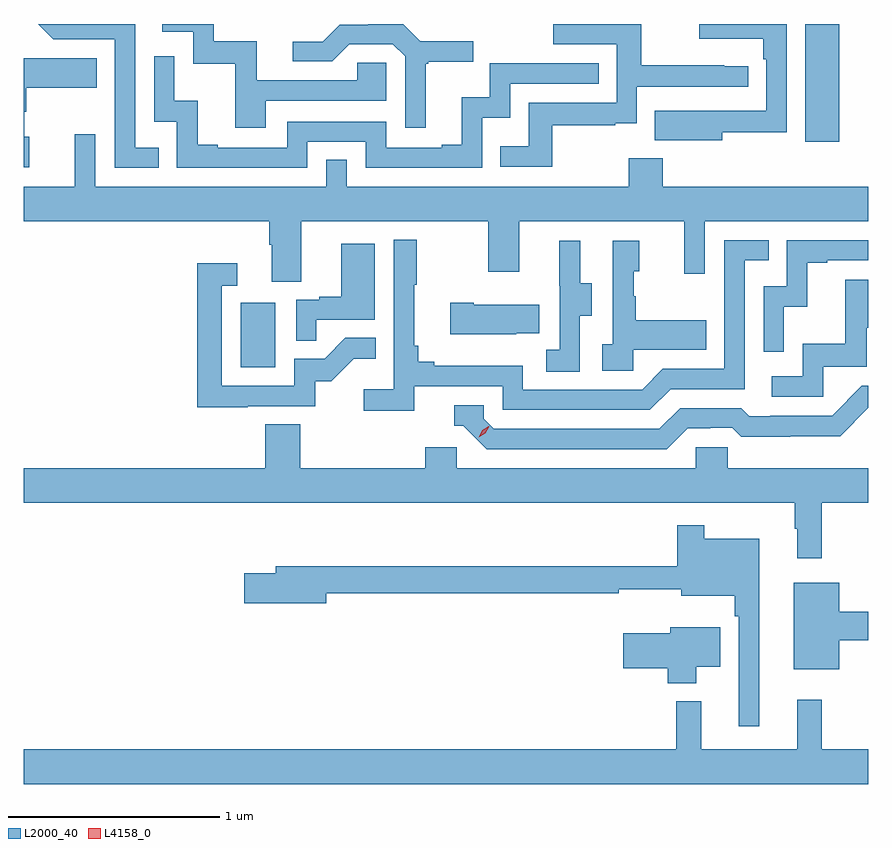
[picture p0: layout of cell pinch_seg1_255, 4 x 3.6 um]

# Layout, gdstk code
import gdstk
lib = gdstk.Library(unit=1e-6, precision=1e-09)
def R(c, l, rs):  # rectangles x0, y0, x1, y1
    for r in rs: c.add(gdstk.rectangle(r[:2], r[2:], *l))
def P(c, l, *ps):  # polygons
    for p in ps: c.add(gdstk.Polygon(p, *l))
L2000_40 = (2000, 40)
L4158_0 = (4158, 0)

pinch_seg1_255 = lib.new_cell('pinch_seg1_255')
R(pinch_seg1_255, L2000_40, [(912.794,579.012,912.958,579.319), (915.467,580.08,915.628,580.638)])
P(pinch_seg1_255, L2000_40, [(914.269,580.158),(914.567,580.158),(914.567,580.169),(914.67,580.169),(914.67,580.341),(915.196,580.341),(915.196,580.437),(915.083,580.437),(915.083,580.442),(914.69,580.442),(914.69,580.638),(914.273,580.638),(914.273,580.542),(914.574,580.542),(914.574,580.266),(914.158,580.266),(914.158,580.06),(914.023,580.06),(914.023,579.963),(914.269,579.963)],
  [(912.407,580.053),(912.294,580.053),(912.294,580.638),(911.835,580.638),(911.907,580.566),(912.198,580.566),(912.198,579.957),(912.407,579.957)],
  [(915.073,580.126),(915.378,580.126),(915.378,580.638),(914.964,580.638),(914.964,580.568),(915.269,580.568),(915.269,580.472),(915.282,580.472),(915.282,580.227),(914.969,580.227),(914.969,580.228),(914.755,580.228),(914.755,580.088),(915.073,580.088)],
  [(913.669,580.449),(913.681,580.449),(913.681,580.46),(913.894,580.46),(913.894,580.557),(913.644,580.557),(913.563,580.638),(913.397,580.638),(913.397,580.634),(913.262,580.634),(913.182,580.554),(913.041,580.554),(913.041,580.461),(913.228,580.461),(913.309,580.542),(913.515,580.542),(913.572,580.485),(913.572,580.146),(913.669,580.146)],
  [(912.913,580.275),(913.482,580.275),(913.482,580.455),(913.345,580.455),(913.345,580.371),(912.871,580.371),(912.871,580.557),(912.666,580.557),(912.666,580.638),(912.423,580.638),(912.423,580.602),(912.57,580.602),(912.57,580.449),(912.769,580.449),(912.769,580.146),(912.913,580.146)],
  [(913.11,580.08),(913.386,580.08),(913.386,579.957),(913.938,579.957),(913.938,580.193),(914.07,580.193),(914.07,580.356),(914.489,580.356),(914.489,580.452),(913.974,580.452),(913.974,580.291),(913.841,580.291),(913.841,580.066),(913.745,580.066),(913.745,580.053),(913.482,580.053),(913.482,580.176),(913.014,580.176),(913.014,580.053),(912.685,580.053),(912.685,580.066),(912.59,580.066),(912.59,580.274),(912.48,580.274),(912.48,580.486),(912.384,580.486),(912.384,580.176),(912.492,580.176),(912.492,579.957),(913.11,579.957)],
  [(911.794,580.104),(911.769,580.104),(911.769,580.223),(911.779,580.223),(911.779,580.337),(912.113,580.337),(912.113,580.477),(911.766,580.477),(911.766,579.96),(911.794,579.96)],
  [(913.081,579.704),(913.966,579.704),(913.966,579.465),(914.113,579.465),(914.113,579.704),(914.894,579.704),(914.894,579.456),(914.991,579.456),(914.991,579.704),(915.766,579.704),(915.766,579.868),(914.792,579.868),(914.792,580.003),(914.632,580.003),(914.632,579.868),(913.296,579.868),(913.296,579.995),(913.2,579.995),(913.2,579.868),(912.105,579.868),(912.105,580.117),(912.008,580.117),(912.008,579.868),(911.766,579.868),(911.766,579.704),(912.929,579.704),(912.929,579.592),(912.941,579.592),(912.941,579.418),(913.081,579.418)],
  [(913.616,578.922),(914.034,578.922),(914.034,578.811),(914.731,578.811),(914.83,578.91),(915.18,578.91),(915.18,579.519),(915.293,579.519),(915.293,579.615),(915.084,579.615),(915.084,579.006),(914.793,579.006),(914.694,578.907),(914.13,578.907),(914.13,579.019),(913.711,579.019),(913.711,579.038),(913.634,579.038),(913.634,579.115),(913.615,579.115),(913.615,579.403),(913.627,579.403),(913.627,579.616),(913.518,579.616),(913.518,578.908),(913.377,578.908),(913.377,578.806),(913.616,578.806)],
  [(915.366,579.299),(915.476,579.299),(915.476,579.507),(915.571,579.507),(915.571,579.519),(915.766,579.519),(915.766,579.615),(915.378,579.615),(915.378,579.396),(915.27,579.396),(915.27,579.087),(915.366,579.087)],
  [(914.4,579.256),(914.455,579.256),(914.455,579.411),(914.401,579.411),(914.401,579.613),(914.303,579.613),(914.303,579.399),(914.304,579.399),(914.304,579.095),(914.241,579.095),(914.241,578.992),(914.4,578.992)],
  [(914.652,579.095),(914.999,579.095),(914.999,579.235),(914.665,579.235),(914.665,579.35),(914.655,579.35),(914.655,579.468),(914.68,579.468),(914.68,579.613),(914.556,579.613),(914.556,579.122),(914.505,579.122),(914.505,578.997),(914.652,578.997)],
  [(913.151,579.237),(913.429,579.237),(913.429,579.598),(913.271,579.598),(913.271,579.346),(913.167,579.346),(913.167,579.333),(913.056,579.333),(913.056,579.139),(913.151,579.139)],
  [(912.827,578.829),(913.146,578.829),(913.146,578.946),(913.222,578.946),(913.329,579.053),(913.433,579.053),(913.433,579.152),(913.289,579.152),(913.191,579.054),(913.047,579.054),(913.047,578.925),(912.705,578.925),(912.705,579.399),(912.778,579.399),(912.778,579.505),(912.589,579.505),(912.589,578.824),(912.827,578.824)],
  [(915.552,579.015),(915.757,579.015),(915.757,579.201),(915.766,579.201),(915.766,579.427),(915.655,579.427),(915.655,579.124),(915.456,579.124),(915.456,578.97),(915.309,578.97),(915.309,578.874),(915.552,578.874)],
  [(914.099,579.173),(914.207,579.173),(914.207,579.31),(913.897,579.31),(913.897,579.318),(913.785,579.318),(913.785,579.17),(914.099,579.17)],
  [(914.911,578.724),(915.018,578.724),(915.018,578.727),(915.121,578.727),(915.163,578.685),(915.396,578.685),(915.396,578.687),(915.632,578.687),(915.766,578.821),(915.766,578.925),(915.735,578.925),(915.594,578.784),(915.301,578.784),(915.301,578.781),(915.202,578.781),(915.163,578.82),(914.874,578.82),(914.775,578.721),(913.992,578.721),(913.944,578.769),(913.944,578.832),(913.805,578.832),(913.805,578.736),(913.848,578.736),(913.959,578.625),(914.812,578.625)],
  [(915.545,578.372),(915.766,578.372),(915.766,578.536),(915.099,578.536),(915.099,578.634),(914.949,578.634),(914.949,578.536),(913.818,578.536),(913.818,578.634),(913.667,578.634),(913.667,578.536),(913.076,578.536),(913.076,578.744),(912.911,578.744),(912.911,578.536),(911.766,578.536),(911.766,578.372),(915.417,578.372),(915.417,578.249),(915.428,578.249),(915.428,578.109),(915.545,578.109)],
  [(915.25,578.2),(914.989,578.2),(914.989,578.266),(914.86,578.266),(914.86,578.071),(912.959,578.071),(912.959,578.037),(912.81,578.037),(912.81,577.895),(913.198,577.895),(913.198,577.942),(914.583,577.942),(914.583,577.961),(914.879,577.961),(914.879,577.931),(915.133,577.931),(915.133,577.835),(915.153,577.835),(915.153,577.314),(915.25,577.314)],
  [(915.628,577.72),(915.766,577.72),(915.766,577.856),(915.628,577.856),(915.628,577.993),(915.413,577.993),(915.413,577.583),(915.628,577.583)],
  [(914.95,577.595),(915.064,577.595),(915.064,577.783),(914.828,577.783),(914.828,577.753),(914.604,577.753),(914.604,577.588),(914.816,577.588),(914.816,577.517),(914.95,577.517)],
  [(915.766,577.204),(915.545,577.204),(915.545,577.438),(915.428,577.438),(915.428,577.204),(914.975,577.204),(914.975,577.432),(914.857,577.432),(914.857,577.204),(911.766,577.204),(911.766,577.04),(915.766,577.04)])
P(pinch_seg1_255, L4158_0, [(913.922,578.682),(913.922,578.682),(913.938,578.715),(913.969,578.734),(913.97,578.734),(913.97,578.734),(913.953,578.701),(913.922,578.682)])

lib.write_gds('pinch_seg1_255.gds')
